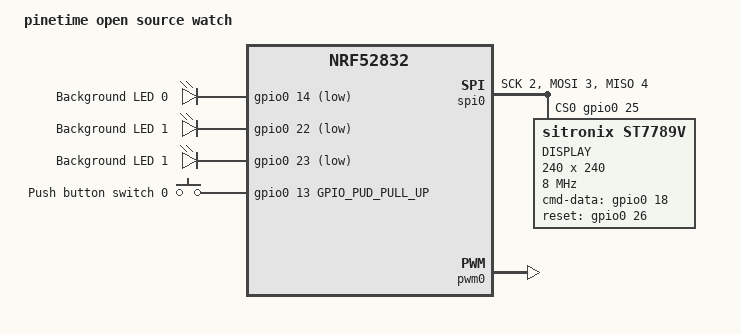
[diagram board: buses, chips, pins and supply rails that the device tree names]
/*
 * Copyright (c) 2018 Zelin <zelin@makerdiary.com>
 * Copyright (c) 2018 makerdiary.com.
 *
 * SPDX-License-Identifier: Apache-2.0

PO.23 LCD backlight 

*/

/dts-v1/;
#include <nordic/nrf52832_qfaa.dtsi>

/ {
	model = "pinetime open source watch";
	compatible = "pinetime", "nordic,nrf52832-qfaa",
		     "nordic,nrf52832";

	chosen {
/*		zephyr,console = &uart0;
		zephyr,shell-uart = &uart0;
		zephyr,uart-mcumgr = &uart0;
		zephyr,bt-mon-uart = &uart0;
		zephyr,bt-c2h-uart = &uart0;*/
		zephyr,sram = &sram0;
		zephyr,flash = &flash0;
		zephyr,code-partition = &slot0_partition;
	};

	leds {
		compatible = "gpio-leds";
		led0_green: led_0 {
			gpios = <&gpio0 14 GPIO_INT_ACTIVE_LOW>;
			label = "Background LED 0";
		};
		led1_red: led_1 {
			gpios = <&gpio0 22 GPIO_INT_ACTIVE_LOW>;
			label = "Background LED 1";
		};
		led2_blue: led_2 {
			gpios = <&gpio0 23 GPIO_INT_ACTIVE_LOW>;
			label = "Background LED 1";
		};
	};

	buttons {
		compatible = "gpio-keys";
		button0: button_0 {
			gpios = <&gpio0 13 GPIO_PUD_PULL_UP>;
			label = "Push button switch 0";
		};
	};

	/* These aliases are provided for compatibility with samples */
	aliases {
		sw0 = &button0;
		led0 = &led0_green;
		led1 = &led1_red;
		led2 = &led2_blue;
		led0-green = &led0_green;
		led1-red   = &led1_red;
		led2-blue  = &led2_blue;
	};

};

&gpiote {
	status = "okay";
};

&gpio0 {
	status = "okay";
};

/*
&uart0 {
	status = "okay";
	compatible = "nordic,nrf-uart";
	current-speed = <115200>;
	tx-pin = <22>;
	rx-pin = <23>;
	rts-pin = <-1>;
	cts-pin = <-1>; 
};
*/
/*
&i2c0 {
	compatible = "nordic,nrf-twi";
	status = "okay";
	sda-pin = <6>;
	scl-pin = <7>;
};
*/
/* not implemented?
&i2c1 {
	compatible = "nordic,nrf-twi";
	status = "okay";
	sda-pin = <14>;
	scl-pin = <13>;
};
*/

&spi0 {
        compatible = "nordic,nrf-spi";
        sck-pin = <2>;
        mosi-pin = <3>;
        miso-pin = <4>;
	cs-gpios = <&gpio0 25 0>;
	st7789v@0 {
		compatible = "sitronix,st7789v";
		label = "DISPLAY";
		spi-max-frequency = <8000000>;
		reg = <0>;
		cmd-data-gpios = <&gpio0 18 0>;
		reset-gpios = <&gpio0 26 0>;
		width = <240>;
		height = <240>;
		x-offset = <0>;
		y-offset = <0>;
                vcom = <0x19>;
		gctrl = <0x35>;
		vrhs = <0x12>;
		vdvs = <0x20>;
		mdac = <0x00>;
		gamma = <0x01>;
		colmod = <0x05>;
		lcm = <0x2c>;
		porch-param = [0c 0c 00 33 33];
		cmd2en-param = [5a 69 02 01];
		pwctrl1-param = [a4 a1];
                pvgam-param = [D0 04 0D 11 13 2B 3F 54 4C 18 0D 0B 1F 23];
		nvgam-param = [D0 04 0C 11 13 2C 3F 44 51 2F 1F 1F 20 23];
		ram-param = [00 F0];
		rgb-param = [CD 08 14];
        };
};



&pwm0 {
	status = "okay";
	ch0-pin = <22>;
	ch0-inverted;
};

&flash0 {
	/*
	 * For more information, see:
	 * http://docs.zephyrproject.org/latest/guides/dts/index.html#flash-partitions
	 */
	partitions {
		compatible = "fixed-partitions";
		#address-cells = <1>;
		#size-cells = <1>;

		boot_partition: partition@0 {
			label = "mcuboot";
			reg = <0x00000000 0xc000>;
		};
		slot0_partition: partition@c000 {
			label = "image-0";
			reg = <0x0000C000 0x32000>;
		};
		slot1_partition: partition@3e000 {
			label = "image-1";
			reg = <0x0003E000 0x32000>;
		};
		scratch_partition: partition@70000 {
			label = "image-scratch";
			reg = <0x00070000 0xa000>;
		};
		storage_partition: partition@7a000 {
			label = "storage";
			reg = <0x0007a000 0x00006000>;
		};
	};
};
